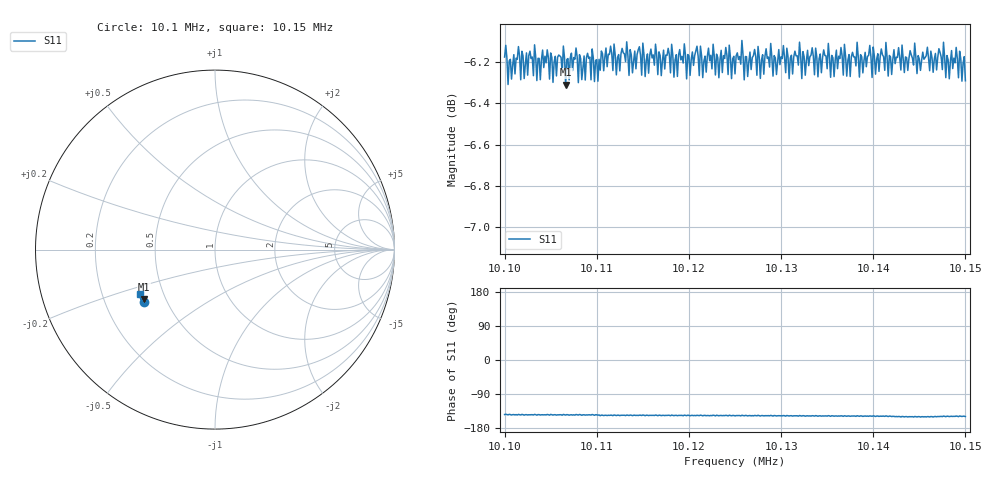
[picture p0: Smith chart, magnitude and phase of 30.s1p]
# Hz S RI R 50
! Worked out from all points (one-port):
!   401 points, 10.1 MHz to 10.15 MHz, reference 50 ohm
!   lowest |S11| = -6.3 dB at 10.1066 MHz (marker M1), VSWR 2.87, Z = 18.9 - j13.6 ohm
!   |S11| at or under -10 dB: nowhere
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1.01e7  -0.3969 -0.2894
1.010062e7  -0.397 -0.2882
1.010175e7  -0.3975 -0.2779
1.010238e7  -0.3997 -0.2876
1.010312e7  -0.3984 -0.2785
1.010375e7  -0.3985 -0.2866
1.010625e7  -0.402 -0.2747
1.010662e7  -0.3977 -0.2754
1.010725e7  -0.4009 -0.2857
1.0108e7  -0.3979 -0.276
1.010862e7  -0.4004 -0.2851
1.010975e7  -0.4012 -0.2717
1.011062e7  -0.4068 -0.2769
1.01125e7  -0.4075 -0.2675
1.011875e7  -0.4072 -0.2651
1.0125e7  -0.4102 -0.2619
1.012738e7  -0.4093 -0.2625
1.013125e7  -0.4126 -0.258
1.01375e7  -0.4145 -0.2536
1.013988e7  -0.4144 -0.2533
1.01405e7  -0.417 -0.2614
1.014125e7  -0.4167 -0.2532
1.014375e7  -0.4236 -0.2415
1.014625e7  -0.4234 -0.2522
1.01475e7  -0.4195 -0.2489
1.014812e7  -0.4182 -0.2563
1.014925e7  -0.4183 -0.2465
1.015e7  -0.4162 -0.2485
